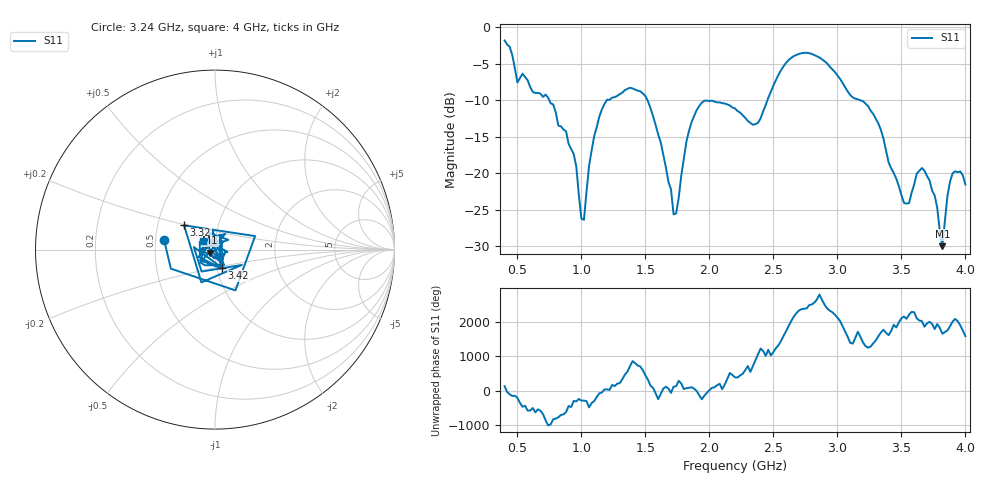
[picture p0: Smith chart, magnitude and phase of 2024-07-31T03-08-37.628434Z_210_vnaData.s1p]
!Created with skrf (http://scikit-rf.org).
# Hz S RI R 50.0
!freq ReS11 ImS11
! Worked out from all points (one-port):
!   181 points, 400 MHz to 4 GHz, reference 50 ohm
!   lowest |S11| = -30.0 dB at 3.82 GHz (marker M1), VSWR 1.07, Z = 47.4 - j1.7 ohm
!   |S11| at or under -10 dB: 748.9 MHz to 1.198 GHz (449.3 MHz wide, 46.2 % of centre); 1.516 GHz to 2.454 GHz (938.1 MHz wide, 47.3 % of centre); 3.175 GHz to end of sweep
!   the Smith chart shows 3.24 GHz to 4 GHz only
!   S11 on the Smith chart (normalised r, x): 3.24 GHz: 0.56, +0.06; 3.32 GHz: 0.68, +0.19; 3.42 GHz: 1.06, -0.22; 4 GHz: 0.87, +0.08
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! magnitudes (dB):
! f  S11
! 400 MHz  -1.8
! 500 MHz  -7.6
! 720 MHz  -9.2
! 860 MHz  -14.0
! 940 MHz  -17.4
! 1.02 GHz  -26.4
! 1.06 GHz  -19.0
! 1.14 GHz  -12.3
! 1.3 GHz  -9.2
! 1.5 GHz  -9.4
! 1.62 GHz  -15.8
! 1.72 GHz  -25.6
! 1.76 GHz  -23.4
! 1.82 GHz  -15.7
! 1.92 GHz  -10.8
! 2.2 GHz  -11.1
! 2.38 GHz  -13.1
! 2.66 GHz  -4.0
! 3.1 GHz  -9.3
! 3.24 GHz  -10.8
! 3.32 GHz  -13.2
! 3.42 GHz  -19.3
! 3.56 GHz  -24.1
! 3.68 GHz  -19.6
! 3.76 GHz  -23.0
! 3.82 GHz  -30.0
! 3.9 GHz  -20.0
! 4 GHz  -21.5
